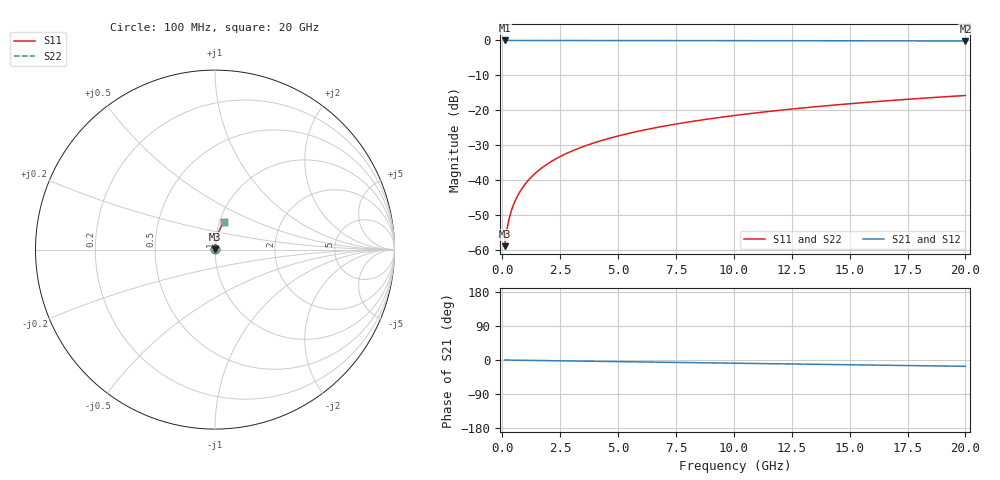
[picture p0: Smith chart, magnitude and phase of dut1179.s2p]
! Touchstone file exported from HFSS 2026.1.0
!  File:  C:/ffzhzh/LocalFiles/Ansys_Project_Files/temp_train_BSMRDL_1179_1783176114_51560.aedt
!  Generated:  10:43:06 PM Jul  4, 2026
!  Design:  BSMRDL
!  Project:  temp_train_BSMRDL_1179_1783176114_51560
! Variables:
!  h_bsmrdl = 5.76um
!  h_ox = 20um
!  h_rdl = 5um
!  h_sub = 80um
!  h_tmrdl = 5um
!  h_tsv = 80um
!  h_via = 3um
!  l_bsmrdl = 207um
!  l_sub = 607um
!  l_tmrdl = 200um
!  m_sub = 200um
!  pitch = 57.37um
!  r_tsv = 6um
!  s_tmrdl = 10um
!  w_bsmrdl = 26.78um
!  w_sub = 500um
!  w_tmrdl = 12um
!  x_tsv_center1 = 206um
!  x_tsv_center2 = 439.78um
!  x_tsv_center3 = 651.78um
!  x_tsv_center4 = 885.56um
!  x_tsv_center5 = 1097.56um
!  x_tsv_center6 = 1331.34um
# GHz S MA R 50.000000
! Terminal data exported
! Port[1] = BSM_RDL1_1_T1
! Port[2] = BSM_RDL1_1_T2
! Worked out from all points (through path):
!   200 points, 100 MHz to 20 GHz, reference 50 ohm
!   highest |S21| = -0.01 dB at 100 MHz (marker M1); lowest = -0.2 dB at 20 GHz (marker M2)
!   group delay of S21, straight-line fit = 2.32 ps
!   lowest |S11| = -58.9 dB at 100 MHz (marker M3), VSWR 1.00, Z = 50.1 + j0.0945 ohm
!   |S11| at or under -10 dB: start of sweep to end of sweep
!   |S22| runs from -58.9 to -15.8 dB; largest |S21 - S12| = 5.3e-15
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0.1  0.001135 56.2  0.9994 -0.1  0.9994 -0.1  0.001135 56.2
! Gamma 0 0 0 0
! Port Impedance 50 0 50 0
0.2  0.001985 70.0  0.9993 -0.2  0.9993 -0.2  0.001985 70.0
0.3  0.00286 75.1  0.9993 -0.3  0.9993 -0.3  0.00286 75.1
0.4  0.003728 77.7  0.9992 -0.4  0.9992 -0.4  0.003728 77.7
0.5  0.00459 79.4  0.9992 -0.4  0.9992 -0.4  0.00459 79.4
0.7  0.006309 81.5  0.9991 -0.6  0.9991 -0.6  0.006309 81.5
0.8  0.007168 82.2  0.9991 -0.7  0.9991 -0.7  0.007168 82.2
1  0.00889 83.1  0.999 -0.9  0.999 -0.9  0.00889 83.1
1.2  0.01061 83.7  0.9989 -1.0  0.9989 -1.0  0.01061 83.7
1.4  0.01234 84.1  0.9989 -1.2  0.9989 -1.2  0.01234 84.1
1.7  0.01492 84.4  0.9988 -1.5  0.9988 -1.5  0.01492 84.4
2  0.0175 84.5  0.9987 -1.7  0.9987 -1.7  0.0175 84.5
2.7  0.0235 84.5  0.9984 -2.3  0.9984 -2.3  0.0235 84.5
3.5  0.03029 84.1  0.998 -3.0  0.998 -3.0  0.03029 84.1
4.2  0.03619 83.7  0.9976 -3.6  0.9976 -3.6  0.03619 83.7
5  0.04288 83.2  0.9972 -4.3  0.9972 -4.3  0.04288 83.2
6.8  0.05781 82.0  0.9961 -5.8  0.9961 -5.8  0.05781 82.0
8.3  0.07013 80.9  0.995 -7.1  0.995 -7.1  0.07013 80.9
10.1  0.08482 79.6  0.9936 -8.6  0.9936 -8.6  0.08482 79.6
13.4  0.1114 77.1  0.9906 -11.3  0.9906 -11.3  0.1114 77.1
16.7  0.1375 74.5  0.987 -14.0  0.987 -14.0  0.1375 74.5
20  0.163 71.9  0.9827 -16.7  0.9827 -16.7  0.163 71.9
